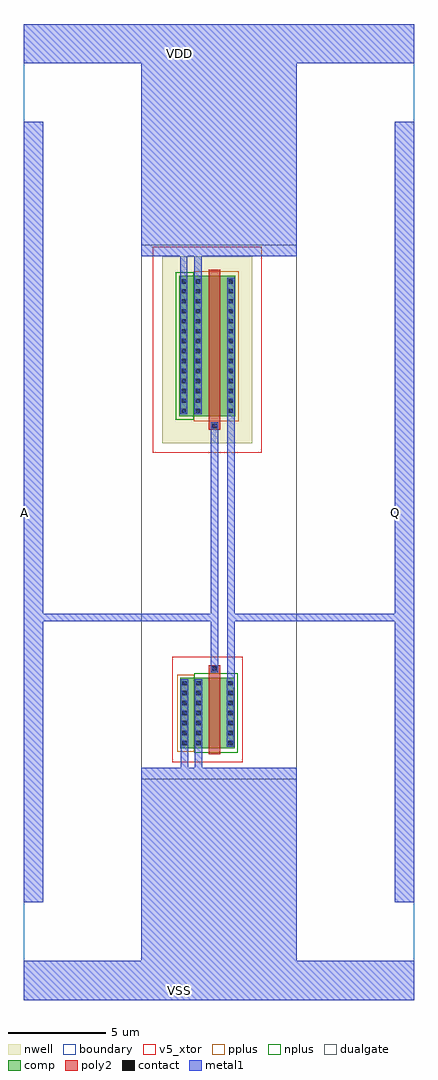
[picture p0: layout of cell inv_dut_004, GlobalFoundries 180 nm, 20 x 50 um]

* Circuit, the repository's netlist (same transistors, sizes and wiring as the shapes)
* inv_dut_004: pfet_05v0 W=7.20u L=0.60u / nfet_05v0 W=3.60u L=0.60u
.SUBCKT inv_dut_004 A Q VDD VSS
MMP Q A VDD VDD pfet_05v0 W=7.20u L=0.60u
MMN Q A VSS VSS nfet_05v0 W=3.60u L=0.60u
.ENDS

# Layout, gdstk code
import gdstk
lib = gdstk.Library(unit=1e-6, precision=1e-09)
def R(c, l, rs):  # rectangles x0, y0, x1, y1
    for r in rs: c.add(gdstk.rectangle(r[:2], r[2:], *l))
def A(c, l, x, y, w, h, nx, ny, dx, dy):  # array of equal rectangles
    R(c, l, [(x+i*dx, y+j*dy, x+i*dx+w, y+j*dy+h) for i in range(nx) for j in range(ny)])
boundary = (0, 0)
nwell = (21, 0)
comp = (22, 0)
poly2 = (30, 0)
pplus = (31, 0)
nplus = (32, 0)
contact = (33, 0)
metal1 = (34, 0)
dualgate = (55, 0)
v5_xtor = (112, 1)

inv_dut_004 = lib.new_cell('inv_dut_004')
R(inv_dut_004, boundary, [(-10,-25,10,25)])
R(inv_dut_004, nwell, [(-2.895,3.53,1.695,13.09)])
R(inv_dut_004, comp, [(-1.975,-12.1,0.795,-8.5), (-2.035,4.9,0.835,12.1)])
R(inv_dut_004, poly2, [(-0.535,-12.4,0.065,-7.84), (-0.535,4.22,0.065,12.4)])
R(inv_dut_004, pplus, [(-2.145,-12.27,-1.265,-8.33), (-1.305,4.66,1.005,12.34)])
R(inv_dut_004, nplus, [(-1.265,-12.34,0.965,-8.26), (-2.205,4.73,-1.305,12.27)])
A(inv_dut_004, contact, -1.875, -11.94, 0.22, 0.22, 1, 7, 0, 0.51)
A(inv_dut_004, contact, -1.165, -11.94, 0.22, 0.22, 1, 7, 0, 0.51)
A(inv_dut_004, contact, 0.475, -11.94, 0.22, 0.22, 1, 7, 0, 0.51)
A(inv_dut_004, contact, -1.915, 5.075, 0.22, 0.22, 1, 14, 0, 0.51)
A(inv_dut_004, contact, -1.185, 5.075, 0.22, 0.22, 1, 14, 0, 0.51)
A(inv_dut_004, contact, 0.495, 5.075, 0.22, 0.22, 1, 14, 0, 0.51)
R(inv_dut_004, contact, [(-0.345,-8.13,-0.125,-7.91), (-0.345,4.3,-0.125,4.52)])
R(inv_dut_004, metal1, [(-10,-25,10,-23), (-3.995,-23,3.995,-13.4), (-10,-20,-9,20), (9,-20,10,20), (-3.995,-13.7,3.995,-13.1), (-1.955,-13.7,-1.575,-8.58), (-1.245,-13.7,-0.865,-8.58), (-1.955,-12.02,-1.575,-8.58), (-1.245,-12.02,-0.865,-8.58), (0.395,-12.02,0.775,-8.58), (0.395,-8.96,0.795,-8.58), (0.415,-8.96,0.795,5.375), (-0.425,-8.21,-0.045,4.6), (-0.425,-8.21,-0.045,-7.83), (-9,-5.6,-3.695,-5.2), (-3.995,-5.6,-0.045,-5.2), (0.415,-5.6,3.995,-5.2), (3.695,-5.6,9,-5.2), (-0.425,4.22,-0.045,4.6), (-1.995,4.995,-1.615,13.7), (-1.995,4.995,-1.615,12.005), (-1.265,4.995,-0.885,13.7), (-1.265,4.995,-0.885,12.005), (0.415,4.995,0.795,5.375), (0.415,4.995,0.795,12.005), (-3.995,13.1,3.995,13.7), (-3.995,13.4,3.995,23), (-10,23,10,25)])
R(inv_dut_004, dualgate, [(-3.995,-13.7,3.995,13.7), (-2.395,-12.81,1.215,-7.42), (-3.395,3.03,2.195,13.59)])
R(inv_dut_004, v5_xtor, [(-2.395,-12.81,1.215,-7.42), (-3.395,3.03,2.195,13.59)])
inv_dut_004.add(gdstk.Label('VDD', (-2,23.5), layer=34, texttype=10))
inv_dut_004.add(gdstk.Label('VSS', (-2,-24.5), layer=34, texttype=10))
inv_dut_004.add(gdstk.Label('A', (-9.97,0), layer=34, texttype=10))
inv_dut_004.add(gdstk.Label('Q', (9.03,0), layer=34, texttype=10))

lib.write_gds('inv_dut_004.gds')
